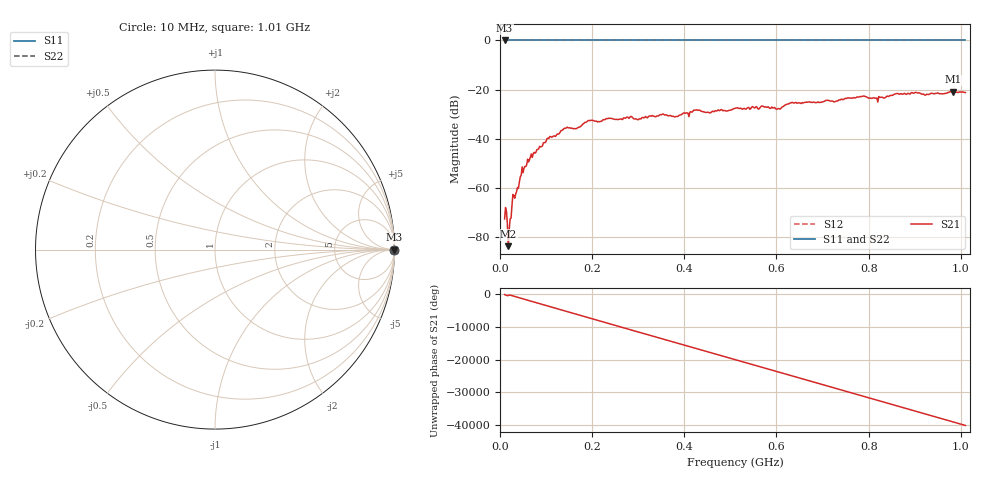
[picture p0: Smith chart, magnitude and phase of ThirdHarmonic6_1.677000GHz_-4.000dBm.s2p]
! 8/16/2025 8:06:58 PM
! C:\ANRITSUVNA\TEMP\TEMP.S2P
! CHANNEL.1
! TR.MEASUREMENT
! RAW.DATA
! RF.CORRECTION.OFF
! AVERAGING.OFF
! IF.BANDWIDTH: 5KHZ
! SWEEPTYPE:  FREQ.SWEEP(Linear)
! Reference Plane Port Info
! PORT:  PORT1  PORT2
! DISTANCE:  0  m  0  m
! TIME:  0  s  0  s
! PHASE.OFFSET:  0  deg.  0  deg.
! LOSS:  0  dB  0  dB
! REF.LOSS:  0  dB  0  dB
! REF.FREQ:  0  Hz  0  Hz
! Power Info
! POWER:  -20  dBm  -20  dBm
! EFF.POWER:  -20  dBm  -20  dBm
! SOURCE.ATTEN:  0  dB  0  dB
! TEST.ATTEN:  0  dB  0  dB
# GHZ S RI R 50.0
! FREQ.GHZ  S11RE  S11IM  S21RE  S21IM  S12RE  S12IM  S22RE  S22IM
!; PortSelection: Port_12
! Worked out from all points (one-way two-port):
!   501 points, 10 MHz to 1.01 GHz, reference 50 ohm
!   highest |S21| = -20.78 dB at 984 MHz (marker M1); lowest = -83.6 dB at 18 MHz (marker M2)
!   lowest |S11| = 0.0 dB at 10 MHz (marker M3)
!   |S11| at or under -10 dB: nowhere
!   |S22| runs from 0.0 to 0.0 dB; largest |S21 - S12| = 1.1
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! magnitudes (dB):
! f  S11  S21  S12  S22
! 10 MHz  0.0  -72.5  0.0  0.0
! 18 MHz  0.0  -83.6  0.0  0.0
! 22 MHz  0.0  -72.5  0.0  0.0
! 26 MHz  0.0  -67.0  0.0  0.0
! 30 MHz  0.0  -63.1  0.0  0.0
! 36 MHz  0.0  -61.5  0.0  0.0
! 48 MHz  0.0  -51.4  0.0  0.0
! 64 MHz  0.0  -48.5  0.0  0.0
! 106 MHz  0.0  -39.8  0.0  0.0
! 142 MHz  0.0  -35.8  0.0  0.0
! 178 MHz  0.0  -34.4  0.0  0.0
! 196 MHz  0.0  -32.5  0.0  0.0
! 344 MHz  0.0  -30.7  0.0  0.0
! 382 MHz  0.0  -30.9  0.0  0.0
! 424 MHz  0.0  -28.3  0.0  0.0
! 510 MHz  0.0  -27.6  0.0  0.0
! 604 MHz  0.0  -27.7  0.0  0.0
! 632 MHz  0.0  -25.3  0.0  0.0
! 678 MHz  0.0  -25.2  0.0  0.0
! 844 MHz  0.0  -22.7  0.0  0.0
! 984 MHz  0.0  -20.8  0.0  0.0
! 1.01 GHz  0.0  -21.2  0.0  0.0
